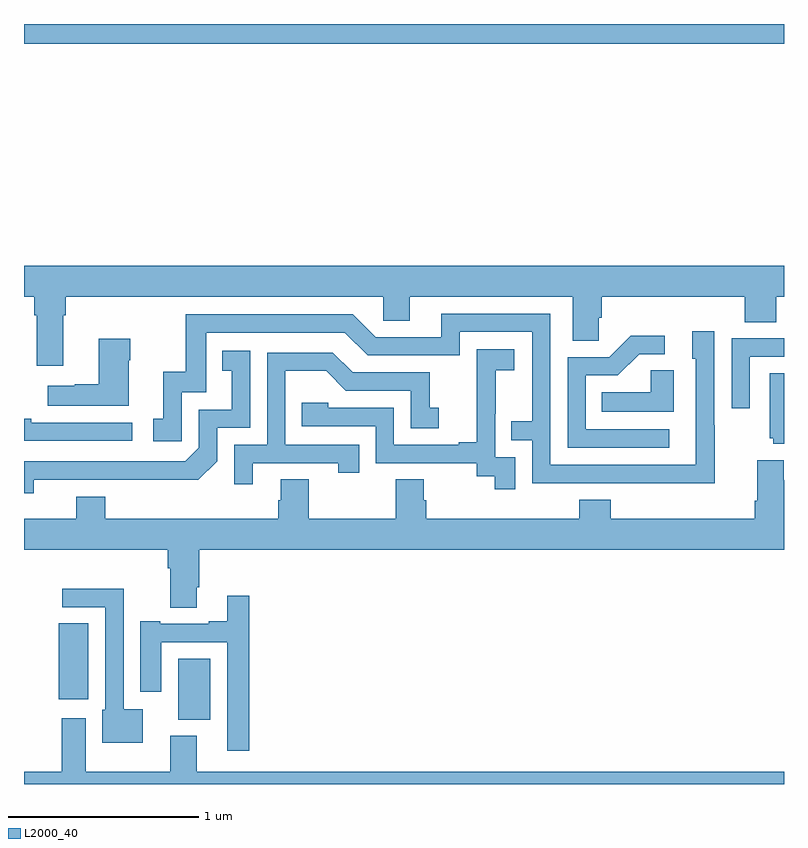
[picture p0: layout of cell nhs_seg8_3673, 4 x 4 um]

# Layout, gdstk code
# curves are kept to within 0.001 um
import gdstk
lib = gdstk.Library(unit=1e-6, precision=1e-09)
def R(c, l, rs):  # rectangles x0, y0, x1, y1
    for r in rs: c.add(gdstk.rectangle(r[:2], r[2:], *l))
def P(c, l, *ps):  # polygons
    for p in ps: c.add(gdstk.Polygon(p, *l))
L2000_40 = (2000, 40)

nhs_seg8_3673 = lib.new_cell('nhs_seg8_3673')
R(nhs_seg8_3673, L2000_40, [(337.811,1150.238,337.981,1150.558), (337.183,1150.347,337.339,1150.745), (337,1153.796,341,1153.9)])
P(nhs_seg8_3673, L2000_40, [(337.207,1152.368),(337.22,1152.368),(337.22,1152.464),(338.892,1152.464),(338.892,1152.337),(339.031,1152.337),(339.031,1152.464),(339.887,1152.464),(339.887,1152.232),(340.026,1152.232),(340.026,1152.355),(340.04,1152.355),(340.04,1152.464),(340.793,1152.464),(340.793,1152.331),(340.958,1152.331),(340.958,1152.464),(341,1152.464),(341,1152.628),(337,1152.628),(337,1152.464),(337.055,1152.464),(337.055,1152.368),(337.067,1152.368),(337.067,1152.102),(337.207,1152.102)],
  [(340.635,1151.789),(340.632,1151.789),(340.632,1152.283),(340.517,1152.283),(340.517,1152.138),(340.536,1152.138),(340.536,1151.58),(339.771,1151.58),(339.771,1152.375),(339.197,1152.375),(339.197,1152.252),(338.85,1152.252),(338.73,1152.372),(337.851,1152.372),(337.851,1152.07),(337.733,1152.07),(337.733,1151.823),(337.68,1151.823),(337.68,1151.703),(337.83,1151.703),(337.83,1151.961),(337.959,1151.961),(337.959,1152.276),(338.688,1152.276),(338.808,1152.156),(339.294,1152.156),(339.294,1152.279),(339.675,1152.279),(339.675,1151.81),(339.565,1151.81),(339.565,1151.709),(339.675,1151.709),(339.675,1151.484),(340.635,1151.483)],
  [(340.396,1151.766),(339.957,1151.766),(339.957,1152.051),(340.126,1152.051),(340.237,1152.162),(340.372,1152.162),(340.372,1152.26),(340.193,1152.26),(340.08,1152.147),(339.861,1152.147),(339.861,1151.67),(340.396,1151.67)],
  [(340.821,1152.15),(341,1152.15),(341,1152.246),(340.725,1152.246),(340.725,1151.877),(340.821,1151.877)],
  [(337.552,1152.131),(337.56,1152.131),(337.56,1152.244),(337.394,1152.244),(337.394,1152.005),(337.268,1152.005),(337.268,1151.995),(337.125,1151.995),(337.125,1151.891),(337.552,1151.891)],
  [(339.585,1151.619),(339.48,1151.619),(339.48,1151.849),(339.482,1151.849),(339.482,1152.077),(339.58,1152.077),(339.58,1152.187),(339.382,1152.187),(339.382,1151.981),(339.383,1151.981),(339.383,1151.698),(339.287,1151.698),(339.287,1151.685),(338.946,1151.685),(338.946,1151.88),(338.601,1151.88),(338.601,1151.907),(338.461,1151.907),(338.461,1151.784),(338.85,1151.784),(338.85,1151.589),(339.384,1151.589),(339.384,1151.521),(339.477,1151.521),(339.477,1151.451),(339.585,1151.451)],
  [(337.05,1151.502),(337.918,1151.501),(338.016,1151.598),(338.016,1151.775),(338.19,1151.775),(338.19,1152.181),(338.044,1152.181),(338.044,1152.075),(338.093,1152.075),(338.093,1151.871),(337.92,1151.871),(337.92,1151.67),(337.848,1151.598),(337,1151.598),(337,1151.429),(337.05,1151.429)],
  [(338.203,1151.589),(338.654,1151.589),(338.654,1151.538),(338.765,1151.538),(338.765,1151.685),(338.376,1151.685),(338.376,1152.074),(338.59,1152.074),(338.694,1151.97),(339.036,1151.97),(339.036,1151.772),(339.184,1151.772),(339.184,1151.881),(339.135,1151.881),(339.135,1152.066),(338.731,1152.066),(338.626,1152.171),(338.28,1152.171),(338.28,1151.685),(338.106,1151.685),(338.106,1151.478),(338.203,1151.478)],
  [(340.42,1152.077),(340.299,1152.077),(340.299,1151.962),(340.042,1151.962),(340.042,1151.858),(340.42,1151.858)],
  [(341,1152.061),(340.925,1152.061),(340.925,1151.721),(340.943,1151.721),(340.943,1151.69),(341,1151.69)],
  [(337.57,1151.802),(337.037,1151.802),(337.037,1151.822),(337,1151.822),(337,1151.706),(337.57,1151.706)],
  [(337.909,1150.936),(337.922,1150.936),(337.922,1151.132),(341,1151.132),(341,1151.498),(340.999,1151.498),(340.999,1151.605),(340.859,1151.605),(340.859,1151.392),(340.847,1151.392),(340.847,1151.296),(340.088,1151.296),(340.088,1151.395),(339.923,1151.395),(339.923,1151.296),(339.116,1151.296),(339.116,1151.394),(339.103,1151.394),(339.103,1151.504),(338.956,1151.504),(338.956,1151.296),(338.499,1151.296),(338.499,1151.504),(338.351,1151.504),(338.351,1151.394),(338.339,1151.394),(338.339,1151.296),(337.427,1151.296),(337.427,1151.413),(337.274,1151.413),(337.274,1151.296),(337,1151.296),(337,1151.132),(337.757,1151.132),(337.757,1151.036),(337.769,1151.036),(337.769,1150.828),(337.909,1150.828)],
  [(337.624,1150.294),(337.524,1150.294),(337.524,1150.928),(337.2,1150.928),(337.2,1150.83),(337.428,1150.83),(337.428,1150.29),(337.412,1150.29),(337.412,1150.118),(337.624,1150.118)],
  [(338.186,1150.891),(338.069,1150.891),(338.069,1150.756),(337.973,1150.756),(337.973,1150.743),(337.717,1150.743),(337.717,1150.756),(337.613,1150.756),(337.613,1150.386),(337.723,1150.386),(337.723,1150.647),(338.07,1150.647),(338.07,1150.074),(338.186,1150.074)],
  [(341,1149.964),(337.909,1149.964),(337.909,1150.153),(337.769,1150.153),(337.769,1149.964),(337.324,1149.964),(337.324,1150.246),(337.199,1150.246),(337.199,1149.964),(337,1149.964),(337,1149.9),(341,1149.9)])

lib.write_gds('nhs_seg8_3673.gds')
